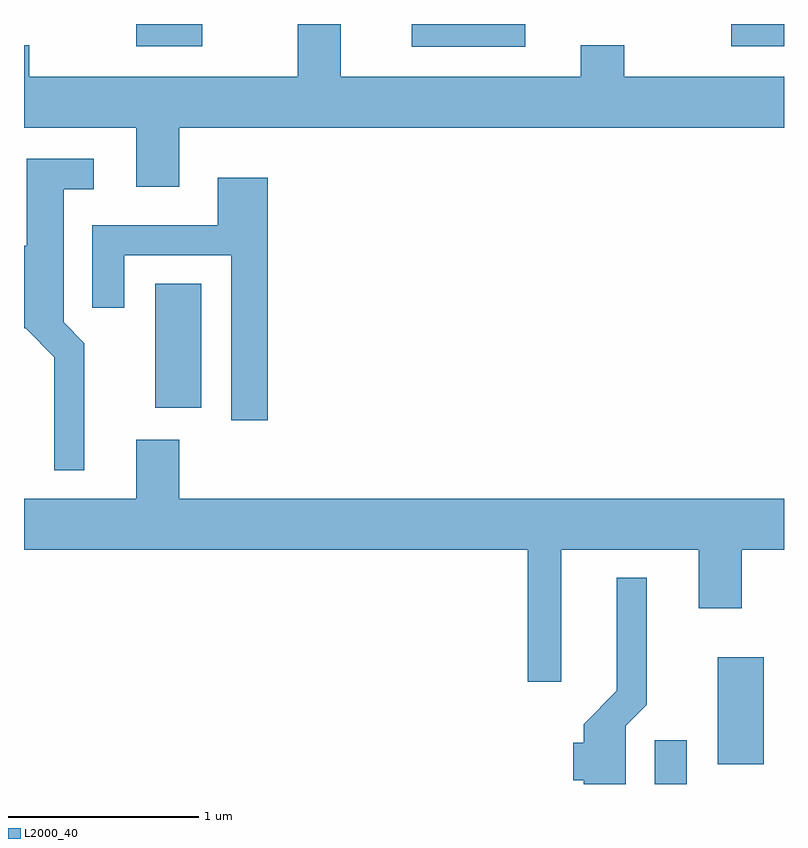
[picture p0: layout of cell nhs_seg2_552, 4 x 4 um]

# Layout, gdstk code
import gdstk
lib = gdstk.Library(unit=1e-6, precision=1e-09)
def R(c, l, rs):  # rectangles x0, y0, x1, y1
    for r in rs: c.add(gdstk.rectangle(r[:2], r[2:], *l))
def P(c, l, *ps):  # polygons
    for p in ps: c.add(gdstk.Polygon(p, *l))
L2000_40 = (2000, 40)

nhs_seg2_552 = lib.new_cell('nhs_seg2_552')
R(nhs_seg2_552, L2000_40, [(204.931,993.802,205.099,994.033), (205.261,993.906,205.504,994.469), (202.301,995.781,202.544,996.434), (203.653,997.681,204.249,997.802), (202.203,997.686,202.549,997.802), (205.333,997.686,205.611,997.802)])
P(nhs_seg2_552, L2000_40, [(202.429,997.256),(205.611,997.256),(205.611,997.524),(204.769,997.524),(204.769,997.689),(204.541,997.689),(204.541,997.524),(203.279,997.524),(203.279,997.802),(203.051,997.802),(203.051,997.524),(201.639,997.524),(201.639,997.689),(201.611,997.689),(201.611,997.256),(202.201,997.256),(202.201,996.946),(202.429,996.946)],
  [(201.929,996.122),(201.819,996.232),(201.819,996.931),(201.978,996.931),(201.978,997.094),(201.626,997.094),(201.626,996.634),(201.611,996.634),(201.611,996.201),(201.619,996.201),(201.771,996.049),(201.771,995.453),(201.929,995.453)],
  [(202.894,996.994),(202.631,996.994),(202.631,996.744),(201.971,996.744),(201.971,996.308),(202.139,996.308),(202.139,996.586),(202.701,996.586),(202.701,995.716),(202.894,995.716)],
  [(204.439,995.036),(205.161,995.036),(205.161,994.726),(205.389,994.726),(205.389,995.036),(205.611,995.036),(205.611,995.304),(202.429,995.304),(202.429,995.614),(202.201,995.614),(202.201,995.304),(201.611,995.304),(201.611,995.036),(204.261,995.036),(204.261,994.341),(204.439,994.341)],
  [(204.779,994.109),(204.889,994.219),(204.889,994.888),(204.731,994.888),(204.731,994.292),(204.556,994.117),(204.556,994.019),(204.501,994.019),(204.501,993.821),(204.556,993.821),(204.556,993.802),(204.779,993.802)])

lib.write_gds('nhs_seg2_552.gds')
